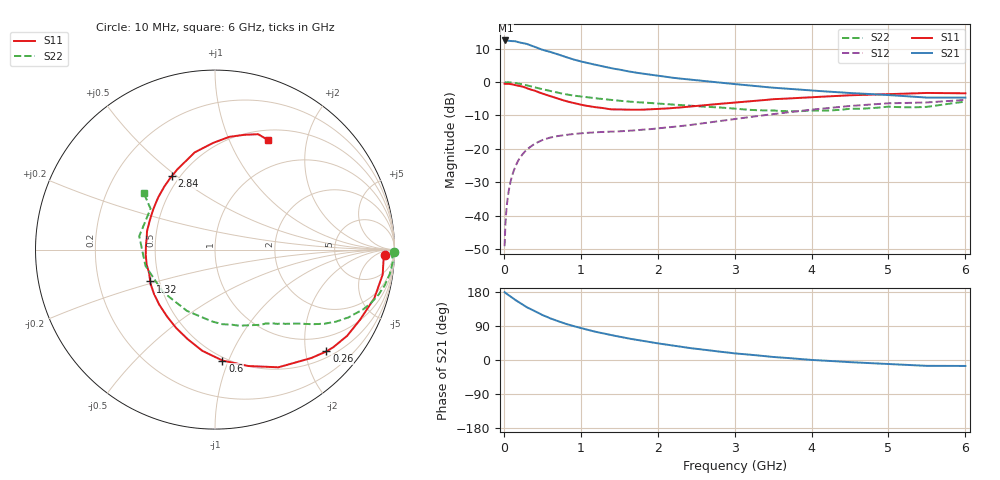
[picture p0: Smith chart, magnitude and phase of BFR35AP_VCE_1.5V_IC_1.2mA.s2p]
! Infineon Technologies  Discrete & RF Semiconductors
! BFR35AP
! VCE =  1.5 V,  IC =  1.2 mA
! Common Emitter S-Parameters:  Nov 2015
# GHz  S  MA  R  50
!  f  S11  S21  S12  S22
! GHz  MAG  ANG  MAG  ANG  MAG  ANG  MAG  ANG
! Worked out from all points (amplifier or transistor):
!   210 points, 10 MHz to 6 GHz, reference 50 ohm
!   highest |S21| = 12.4 dB at 20 MHz (marker M1)
!   |S21| within 3 dB of that: start of sweep to 533.4 MHz
!   unconditionally stable (mu >= 1): 1.322 GHz to end of sweep
!   at 185 MHz: K = 0.17, MSG = 17.8 dB, |S12| = -23.6 dB
!   at 1.52 GHz: K = 1.10, MAG = 7.2 dB, |S12| = -14.7 dB
!   at 6 GHz: K = 1.06, MAG = -1.2 dB, |S12| = -5.3 dB
!   S11 on the Smith chart (normalised r, x): 10 MHz: 28, -15; 260 MHz: 0.63, -2.44; 600 MHz: 0.47, -0.95; 1.32 GHz: 0.45, -0.19; 2.84 GHz: 0.45, +0.48; 6 GHz: 0.62, +1.40
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0.01  0.9452 -1.7  4.119 179.0  0.0035 91.0  0.9983 -0.8
0.02  0.9408 -3.3  4.188 177.1  0.0072 89.5  0.9867 -1.5
0.035  0.9417 -5.9  4.169 175.1  0.0128 86.0  0.9895 -2.8
0.05  0.9445 -8.5  4.155 173.0  0.0184 84.6  0.9928 -4.1
0.1  0.9282 -16.9  4.103 166.2  0.0371 79.5  0.9831 -8.0
0.15  0.9 -25.2  4.07 158.3  0.0545 74.2  0.9658 -12.0
0.26  0.841 -42.4  3.797 144.1  0.0875 64.3  0.9148 -19.3
0.3  0.8079 -48.4  3.712 139.1  0.0982 61.3  0.892 -21.8
0.4  0.7448 -61.7  3.375 129.0  0.119 54.2  0.8336 -27.0
0.5  0.6743 -74.1  3.043 118.8  0.1355 48.5  0.7826 -30.9
0.6  0.6193 -86.2  2.831 110.2  0.1474 43.9  0.7364 -34.1
0.8  0.5219 -106.9  2.379 95.8  0.1618 37.4  0.6572 -39.1
1.02  0.4536 -127.3  2.009 83.3  0.1718 33.4  0.6035 -43.1
1.32  0.4022 -153.8  1.681 69.1  0.1798 31.1  0.5508 -48.4
1.6  0.3869 -175.8  1.457 57.5  0.186 31.7  0.5132 -53.3
2.02  0.3965 157.4  1.235 43.3  0.2036 34.1  0.4759 -61.9
2.84  0.4752 120.4  0.97 21.3  0.263 36.9  0.4133 -86.2
3.1  0.5031 112.3  0.909 15.8  0.2891 36.1  0.391 -96.6
4.1  0.6014 89.3  0.734 -0.9  0.3962 27.6  0.3728 -146.4
5.1  0.6642 74.5  0.628 -11.7  0.483 13.3  0.4229 165.5
5.5  0.6864 69.5  0.585 -15.4  0.4952 6.8  0.4251 147.6
6  0.6782 64.2  0.585 -15.7  0.5402 2.6  0.5097 141.4
